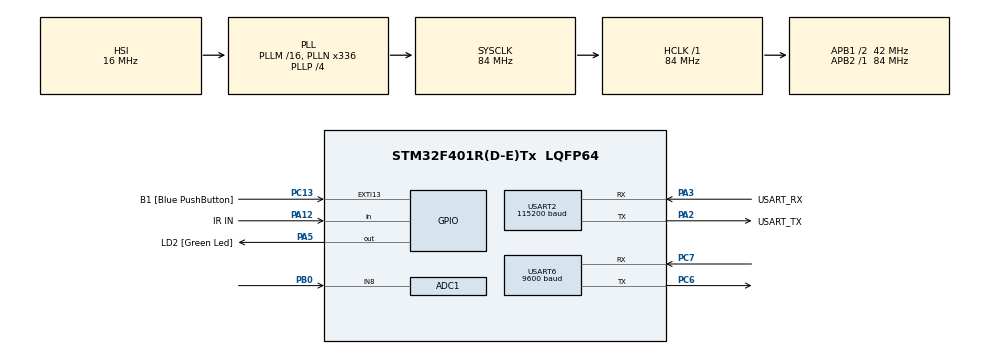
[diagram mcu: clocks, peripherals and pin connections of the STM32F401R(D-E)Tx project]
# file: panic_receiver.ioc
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ADC1.Channel-2\#ChannelRegularConversion=ADC_CHANNEL_8
ADC1.NbrOfConversionFlag=1
ADC1.Rank-2\#ChannelRegularConversion=1
ADC1.SamplingTime-2\#ChannelRegularConversion=ADC_SAMPLETIME_3CYCLES
ADC1.master=1
Mcu.Family=STM32F4
Mcu.Name=STM32F401R(D-E)Tx
Mcu.Package=LQFP64
NVIC.PriorityGroup=NVIC_PRIORITYGROUP_0
PA12.GPIO_Label=IR IN
PA12.GPIO_PuPd=GPIO_PULLUP
PA12.Signal=GPIO_Input
PA13.GPIO_Label=TMS
PA13.Mode=Serial_Wire
PA13.Signal=SYS_JTMS-SWDIO
PA14.GPIO_Label=TCK
PA14.Mode=Serial_Wire
PA14.Signal=SYS_JTCK-SWCLK
PA2.GPIO_Label=USART_TX
PA2.GPIO_Mode=GPIO_MODE_AF_PP
PA2.GPIO_PuPd=GPIO_NOPULL
PA2.GPIO_Speed=GPIO_SPEED_FREQ_LOW
PA2.Mode=Asynchronous
PA2.Signal=USART2_TX
PA3.GPIO_Label=USART_RX
PA3.GPIO_Mode=GPIO_MODE_AF_PP
PA3.GPIO_PuPd=GPIO_NOPULL
PA3.GPIO_Speed=GPIO_SPEED_FREQ_LOW
PA3.Mode=Asynchronous
PA3.Signal=USART2_RX
PA5.GPIO_Label=LD2 [Green Led]
PA5.GPIO_Mode=GPIO_MODE_OUTPUT_PP
PA5.GPIO_PuPd=GPIO_NOPULL
PA5.GPIO_Speed=GPIO_SPEED_FREQ_LOW
PA5.Signal=GPIO_Output
PB0.Signal=ADCx_IN8
PB3.GPIO_Label=SWO
PB3.Signal=SYS_JTDO-SWO
PB6.Signal=I2C1_SCL
PB7.Signal=I2C1_SDA
PC13-ANTI_TAMP.GPIO_Label=B1 [Blue PushButton]
PC13-ANTI_TAMP.GPIO_ModeDefaultEXTI=GPIO_MODE_IT_FALLING
PC13-ANTI_TAMP.GPIO_PuPd=GPIO_NOPULL
PC13-ANTI_TAMP.Signal=GPXTI13
PC14-OSC32_IN.Mode=LSE-External-Oscillator
PC14-OSC32_IN.Signal=RCC_OSC32_IN
PC15-OSC32_OUT.Mode=LSE-External-Oscillator
PC15-OSC32_OUT.Signal=RCC_OSC32_OUT
PC6.Mode=Asynchronous
PC6.Signal=USART6_TX
PC7.Mode=Asynchronous
PC7.Signal=USART6_RX
PH0\ -\ OSC_IN.Mode=HSE-External-Clock-Source
PH0\ -\ OSC_IN.Signal=RCC_OSC_IN
PH1\ -\ OSC_OUT.Mode=HSE-External-Clock-Source
PH1\ -\ OSC_OUT.Signal=RCC_OSC_OUT
ProjectManager.HeapSize=0x200
ProjectManager.StackSize=0x400
ProjectManager.TargetToolchain=STM32CubeIDE
RCC.48MHZClocksFreq_Value=48000000
RCC.AHBFreq_Value=84000000
RCC.APB1CLKDivider=RCC_HCLK_DIV2
RCC.APB1Freq_Value=42000000
RCC.APB1TimFreq_Value=84000000
RCC.APB2Freq_Value=84000000
RCC.APB2TimFreq_Value=84000000
RCC.CortexFreq_Value=84000000
RCC.HCLKFreq_Value=84000000
RCC.HSE_VALUE=8000000
RCC.HSI_VALUE=16000000
RCC.PLLN=336
RCC.PLLP=RCC_PLLP_DIV4
RCC.PLLQ=7
RCC.SYSCLKFreq_VALUE=84000000
RCC.SYSCLKSource=RCC_SYSCLKSOURCE_PLLCLK
RCC.VCOOutputFreq_Value=336000000
SH.ADCx_IN8.0=ADC1_IN8,IN8
USART2.BaudRate=115200
USART2.VirtualMode=VM_ASYNC
USART2.WordLength=WORDLENGTH_8B
USART6.BaudRate=9600
USART6.VirtualMode=VM_ASYNC
board=NUCLEO-F401RE

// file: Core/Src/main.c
/* USER CODE BEGIN Header */
/**
  ******************************************************************************
  * @file           : main.c
  * @brief          : Main program body
  ******************************************************************************
  * @attention
  *
  * Copyright (c) 2024 STMicroelectronics.
  * All rights reserved.
  *
  * This software is licensed under terms that can be found in the LICENSE file
  * in the root directory of this software component.
  * If no LICENSE file comes with this software, it is provided AS-IS.
  *
  ******************************************************************************
  */
/* USER CODE END Header */
#include "main.h"

ADC_HandleTypeDef hadc1;

UART_HandleTypeDef huart2;
UART_HandleTypeDef huart6;

/* USER CODE BEGIN PV */
// STM Microcontroller's VDD voltage
const float VDD = 3.3;
/* USER CODE END PV */

void SystemClock_Config(void);
static void MX_GPIO_Init(void);
static void MX_USART2_UART_Init(void);
static void MX_USART6_UART_Init(void);
static void MX_ADC1_Init(void);
/* USER CODE BEGIN PFP */
uint32_t ADC_Read(void);
static float Calculate_Voltage(uint32_t adc_value);

// Debugging output
// Code credit (Subzee): https://stackoverflow.com/questions/69695956/printing-in-c-to-ide-console-on-stm32cubeide
// https://www.youtube.com/watch?v=WLqUImiV5Gs
int _write(int file, char *ptr, int len) {
	int DataIdx;

	for (DataIdx = 0; DataIdx < len; DataIdx++) {
		ITM_SendChar(*ptr++);
	}
	return len;
}

/* USER CODE END PFP */

/* USER CODE BEGIN 0 */
uint32_t ADC_Read(void) {
    HAL_ADC_Start(&hadc1);
    if (HAL_ADC_PollForConversion(&hadc1, 100) == HAL_OK) {
        return HAL_ADC_GetValue(&hadc1);
    }
    return 0;
}
static float Calculate_Voltage(uint32_t adc_value) {
	return (float)adc_value / 4095 * VDD;
}
static float Calculate_IR_Strength(uint32_t adc_value) {
	if (adc_value > 1500) {
		return adc_value - 1500;
	} else {
		return 1500 - adc_value;
	}
}
/* USER CODE END 0 */

int main(void)
{

  /* MCU Configuration--------------------------------------------------------*/

  /* Reset of all peripherals, Initializes the Flash interface and the Systick. */
  HAL_Init();

  /* Configure the system clock */
  SystemClock_Config();

  /* Initialize all configured peripherals */
  MX_GPIO_Init();
  MX_USART2_UART_Init();
  MX_USART6_UART_Init();
  MX_ADC1_Init();
  /* USER CODE BEGIN 2 */
  uint8_t rxData;
  HAL_GPIO_WritePin(GPIOA, GPIO_PIN_5, 1);
  /* USER CODE END 2 */

  /* Infinite loop */
  /* USER CODE BEGIN WHILE */
  while (1)
  {
	  HAL_GPIO_TogglePin(GPIOA, GPIO_PIN_5);
	  HAL_Delay(500);
	  if (HAL_GPIO_ReadPin(GPIOA, GPIO_PIN_12) == GPIO_PIN_RESET) {
		  //HAL_GPIO_WritePin(GPIOA, GPIO_PIN_5, 1);
		  //HAL_UART_Transmit(&huart2, "True", 5, HAL_MAX_DELAY);
	  } else {
		  //HAL_GPIO_WritePin(GPIOA, GPIO_PIN_5, 0);
		  //HAL_UART_Transmit(&huart2, "False", 6, HAL_MAX_DELAY);
	  }
	  char str[20] = "                    ";
	  snprintf(str, 20, "%.6f", (float)Calculate_IR_Strength(ADC_Read()));
	  HAL_UART_Transmit(&huart2, str, 20, HAL_MAX_DELAY);
      //if (HAL_UART_Receive(&huart2, &rxData, 1, HAL_MAX_DELAY) == HAL_OK)
      {
          // Echo received data back to sender
          HAL_UART_Transmit(&huart2, &rxData, 1, HAL_MAX_DELAY);
		  HAL_UART_Transmit(&huart6, &rxData, 1, HAL_MAX_DELAY);
      }

  }
    /* USER CODE END WHILE */

}

void SystemClock_Config(void)
{
  RCC_OscInitTypeDef RCC_OscInitStruct = {0};
  RCC_ClkInitTypeDef RCC_ClkInitStruct = {0};

  /** Configure the main internal regulator output voltage
  */
  __HAL_RCC_PWR_CLK_ENABLE();
  __HAL_PWR_VOLTAGESCALING_CONFIG(PWR_REGULATOR_VOLTAGE_SCALE2);

  /** Initializes the RCC Oscillators according to the specified parameters
  * in the RCC_OscInitTypeDef structure.
  */
  RCC_OscInitStruct.OscillatorType = RCC_OSCILLATORTYPE_HSI;
  RCC_OscInitStruct.HSIState = RCC_HSI_ON;
  RCC_OscInitStruct.HSICalibrationValue = RCC_HSICALIBRATION_DEFAULT;
  RCC_OscInitStruct.PLL.PLLState = RCC_PLL_ON;
  RCC_OscInitStruct.PLL.PLLSource = RCC_PLLSOURCE_HSI;
  RCC_OscInitStruct.PLL.PLLM = 16;
  RCC_OscInitStruct.PLL.PLLN = 336;
  RCC_OscInitStruct.PLL.PLLP = RCC_PLLP_DIV4;
  RCC_OscInitStruct.PLL.PLLQ = 7;
  if (HAL_RCC_OscConfig(&RCC_OscInitStruct) != HAL_OK)
  {
    Error_Handler();
  }

  /** Initializes the CPU, AHB and APB buses clocks
  */
  RCC_ClkInitStruct.ClockType = RCC_CLOCKTYPE_HCLK|RCC_CLOCKTYPE_SYSCLK
                              |RCC_CLOCKTYPE_PCLK1|RCC_CLOCKTYPE_PCLK2;
  RCC_ClkInitStruct.SYSCLKSource = RCC_SYSCLKSOURCE_PLLCLK;
  RCC_ClkInitStruct.AHBCLKDivider = RCC_SYSCLK_DIV1;
  RCC_ClkInitStruct.APB1CLKDivider = RCC_HCLK_DIV2;
  RCC_ClkInitStruct.APB2CLKDivider = RCC_HCLK_DIV1;

  if (HAL_RCC_ClockConfig(&RCC_ClkInitStruct, FLASH_LATENCY_2) != HAL_OK)
  {
    Error_Handler();
  }
}

static void MX_ADC1_Init(void)
{

  ADC_ChannelConfTypeDef sConfig = {0};

  /** Configure the global features of the ADC (Clock, Resolution, Data Alignment and number of conversion)
  */
  hadc1.Instance = ADC1;
  hadc1.Init.ClockPrescaler = ADC_CLOCK_SYNC_PCLK_DIV4;
  hadc1.Init.Resolution = ADC_RESOLUTION_12B;
  hadc1.Init.ScanConvMode = DISABLE;
  hadc1.Init.ContinuousConvMode = DISABLE;
  hadc1.Init.DiscontinuousConvMode = DISABLE;
  hadc1.Init.ExternalTrigConvEdge = ADC_EXTERNALTRIGCONVEDGE_NONE;
  hadc1.Init.ExternalTrigConv = ADC_SOFTWARE_START;
  hadc1.Init.DataAlign = ADC_DATAALIGN_RIGHT;
  hadc1.Init.NbrOfConversion = 1;
  hadc1.Init.DMAContinuousRequests = DISABLE;
  hadc1.Init.EOCSelection = ADC_EOC_SINGLE_CONV;
  if (HAL_ADC_Init(&hadc1) != HAL_OK)
  {
    Error_Handler();
  }

  /** Configure for the selected ADC regular channel its corresponding rank in the sequencer and its sample time.
  */
  sConfig.Channel = ADC_CHANNEL_8;
  sConfig.Rank = 1;
  sConfig.SamplingTime = ADC_SAMPLETIME_3CYCLES;
  if (HAL_ADC_ConfigChannel(&hadc1, &sConfig) != HAL_OK)
  {
    Error_Handler();
  }

}

static void MX_USART2_UART_Init(void)
{

  huart2.Instance = USART2;
  huart2.Init.BaudRate = 115200;
  huart2.Init.WordLength = UART_WORDLENGTH_8B;
  huart2.Init.StopBits = UART_STOPBITS_1;
  huart2.Init.Parity = UART_PARITY_NONE;
  huart2.Init.Mode = UART_MODE_TX_RX;
  huart2.Init.HwFlowCtl = UART_HWCONTROL_NONE;
  huart2.Init.OverSampling = UART_OVERSAMPLING_16;
  if (HAL_UART_Init(&huart2) != HAL_OK)
  {
    Error_Handler();
  }

}

static void MX_USART6_UART_Init(void)
{

  huart6.Instance = USART6;
  huart6.Init.BaudRate = 9600;
  huart6.Init.WordLength = UART_WORDLENGTH_8B;
  huart6.Init.StopBits = UART_STOPBITS_1;
  huart6.Init.Parity = UART_PARITY_NONE;
  huart6.Init.Mode = UART_MODE_TX_RX;
  huart6.Init.HwFlowCtl = UART_HWCONTROL_NONE;
  huart6.Init.OverSampling = UART_OVERSAMPLING_16;
  if (HAL_UART_Init(&huart6) != HAL_OK)
  {
    Error_Handler();
  }

}

static void MX_GPIO_Init(void)
{
  GPIO_InitTypeDef GPIO_InitStruct = {0};

  /* GPIO Ports Clock Enable */
  __HAL_RCC_GPIOC_CLK_ENABLE();
  __HAL_RCC_GPIOH_CLK_ENABLE();
  __HAL_RCC_GPIOA_CLK_ENABLE();
  __HAL_RCC_GPIOB_CLK_ENABLE();

  /*Configure GPIO pin Output Level */
  HAL_GPIO_WritePin(LD2_GPIO_Port, LD2_Pin, GPIO_PIN_RESET);

  /*Configure GPIO pin : B1_Pin */
  GPIO_InitStruct.Pin = B1_Pin;
  GPIO_InitStruct.Mode = GPIO_MODE_IT_FALLING;
  GPIO_InitStruct.Pull = GPIO_NOPULL;
  HAL_GPIO_Init(B1_GPIO_Port, &GPIO_InitStruct);

  /*Configure GPIO pin : LD2_Pin */
  GPIO_InitStruct.Pin = LD2_Pin;
  GPIO_InitStruct.Mode = GPIO_MODE_OUTPUT_PP;
  GPIO_InitStruct.Pull = GPIO_NOPULL;
  GPIO_InitStruct.Speed = GPIO_SPEED_FREQ_LOW;
  HAL_GPIO_Init(LD2_GPIO_Port, &GPIO_InitStruct);

  /*Configure GPIO pin : IR_IN_Pin */
  GPIO_InitStruct.Pin = IR_IN_Pin;
  GPIO_InitStruct.Mode = GPIO_MODE_INPUT;
  GPIO_InitStruct.Pull = GPIO_PULLUP;
  HAL_GPIO_Init(IR_IN_GPIO_Port, &GPIO_InitStruct);

  /*Configure GPIO pins : PB6 PB7 */
  GPIO_InitStruct.Pin = GPIO_PIN_6|GPIO_PIN_7;
  GPIO_InitStruct.Mode = GPIO_MODE_AF_OD;
  GPIO_InitStruct.Pull = GPIO_NOPULL;
  GPIO_InitStruct.Speed = GPIO_SPEED_FREQ_VERY_HIGH;
  GPIO_InitStruct.Alternate = GPIO_AF4_I2C1;
  HAL_GPIO_Init(GPIOB, &GPIO_InitStruct);

}

void Error_Handler(void)
{
  __disable_irq();
  while (1)
  {
  }
}
